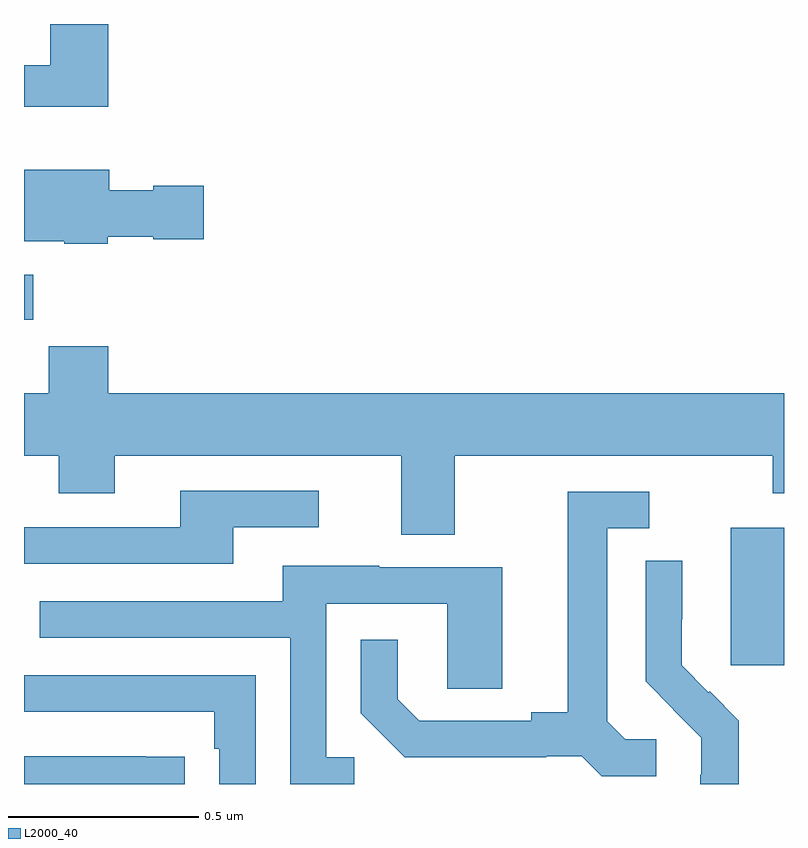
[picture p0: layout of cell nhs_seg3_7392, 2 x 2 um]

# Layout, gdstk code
import gdstk
lib = gdstk.Library(unit=1e-6, precision=1e-09)
def R(c, l, rs):  # rectangles x0, y0, x1, y1
    for r in rs: c.add(gdstk.rectangle(r[:2], r[2:], *l))
def P(c, l, *ps):  # polygons
    for p in ps: c.add(gdstk.Polygon(p, *l))
L2000_40 = (2000, 40)

nhs_seg3_7392 = lib.new_cell('nhs_seg3_7392')
R(nhs_seg3_7392, L2000_40, [(204.86,685.713,205,686.074), (203,686.622,203.024,686.74)])
P(nhs_seg3_7392, L2000_40, [(203.222,687.4),(203.069,687.4),(203.069,687.292),(203,687.292),(203,687.182),(203.222,687.182)],
  [(203.22,686.84),(203.34,686.84),(203.34,686.833),(203.473,686.833),(203.473,686.975),(203.34,686.975),(203.34,686.962),(203.224,686.962),(203.224,687.016),(203,687.016),(203,686.828),(203.106,686.828),(203.106,686.822),(203.22,686.822)],
  [(204.133,686.264),(204.97,686.264),(204.97,686.165),(205,686.165),(205,686.428),(203.222,686.428),(203.222,686.552),(203.065,686.552),(203.065,686.428),(203,686.428),(203,686.264),(203.092,686.264),(203.092,686.165),(203.239,686.165),(203.239,686.264),(203.993,686.264),(203.993,686.056),(204.133,686.056)],
  [(203.551,686.076),(203.776,686.076),(203.776,686.172),(203.411,686.172),(203.411,686.076),(203,686.076),(203,685.98),(203.551,685.98)],
  [(204.664,685.518),(204.582,685.518),(204.535,685.565),(204.535,686.073),(204.646,686.073),(204.646,686.169),(204.431,686.169),(204.431,685.589),(204.335,685.589),(204.335,685.566),(204.04,685.566),(203.983,685.623),(203.983,685.78),(203.886,685.78),(203.886,685.586),(204.002,685.47),(204.374,685.47),(204.374,685.473),(204.468,685.473),(204.52,685.421),(204.664,685.421)],
  [(204.881,685.567),(204.804,685.644),(204.801,685.641),(204.731,685.712),(204.731,685.834),(204.732,685.834),(204.732,685.988),(204.636,685.988),(204.636,685.67),(204.709,685.597),(204.708,685.596),(204.782,685.522),(204.782,685.425),(204.78,685.425),(204.78,685.4),(204.881,685.4)],
  [(203.869,685.47),(203.796,685.47),(203.796,685.875),(204.114,685.875),(204.114,685.651),(204.259,685.651),(204.259,685.971),(203.935,685.971),(203.935,685.975),(203.681,685.975),(203.681,685.881),(203.041,685.881),(203.041,685.785),(203.7,685.785),(203.7,685.4),(203.869,685.4)],
  [(203.61,685.686),(203,685.686),(203,685.59),(203.501,685.59),(203.501,685.493),(203.514,685.493),(203.514,685.4),(203.61,685.4)],
  [(203.423,685.472),(203.321,685.472),(203.321,685.473),(203,685.473),(203,685.4),(203.423,685.4)])

lib.write_gds('nhs_seg3_7392.gds')
